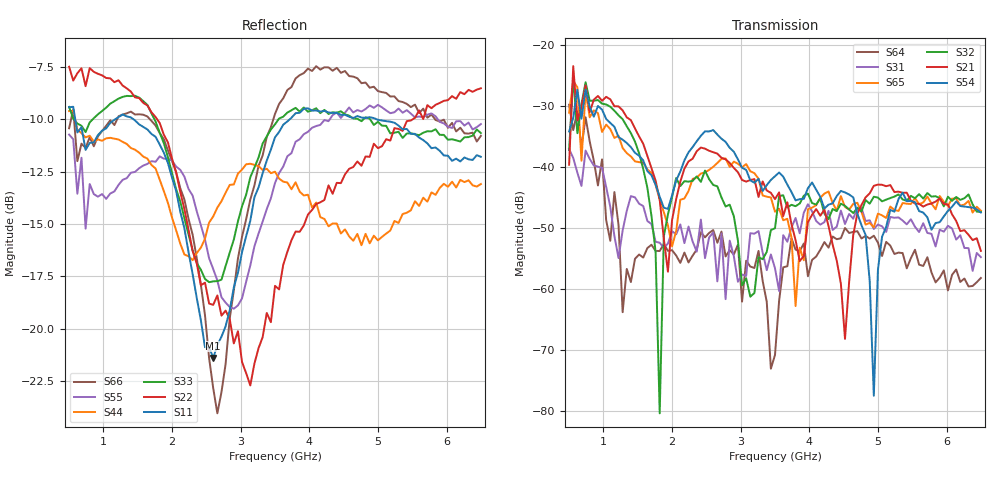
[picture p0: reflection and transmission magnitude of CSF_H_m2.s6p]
!Keysight Technologies,M9804A,MY58100912,A.14.10.03
!Date: Thursday, April 27, 2023 10:28:33
!Correction: S11(C  6-Port  )
!S12(C  6-Port  )
!S13(C  6-Port  )
!S14(C  6-Port  )
!S15(C  6-Port  )
!S16(C  6-Port  )
!S21(C  6-Port  )
!S22(C  6-Port  )
!S23(C  6-Port  )
!S24(C  6-Port  )
!S25(C  6-Port  )
!S26(C  6-Port  )
!S31(C  6-Port  )
!S32(C  6-Port  )
!S33(C  6-Port  )
!S34(C  6-Port  )
!S35(C  6-Port  )
!S36(C  6-Port  )
!S41(C  6-Port  )
!S42(C  6-Port  )
!S43(C  6-Port  )
!S44(C  6-Port  )
!S45(C  6-Port  )
!S46(C  6-Port  )
!S51(C  6-Port  )
!S52(C  6-Port  )
!S53(C  6-Port  )
!S54(C  6-Port  )
!S55(C  6-Port  )
!S56(C  6-Port  )
!S61(C  6-Port  )
!S62(C  6-Port  )
!S63(C  6-Port  )
!S64(C  6-Port  )
!S65(C  6-Port  )
!S66(C  6-Port  )
!S6P File: Measurement: :
# Hz S  RI  R 50
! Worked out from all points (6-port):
!   101 points, 500 MHz to 6.5 GHz, reference 50 ohm
!   strongest paths, dB at 500 MHz, 2 GHz, 3.5 GHz, 5 GHz, 6.5 GHz:
!     S54: -34.2, -44.6, -41.5, -56.8, -47.4
!     S21: -39.6, -48.7, -45.3, -42.9, -53.7
!     S32: -37.2, -44.9, -50.0, -45.0, -47.3
!     S65: -31.1, -53.0, -47.3, -47.6, -47.2
!     S31: -37.1, -50.5, -56.6, -49.4, -54.8
!     S64: -29.8, -53.6, -70.8, -52.4, -58.2
!   lowest |S11| = -21.4 dB at 2.6 GHz (marker M1), VSWR 1.19, Z = 42.4 + j2.21 ohm
!   |S11| at or under -10 dB: 589.3 MHz to 1.17 GHz (580.7 MHz wide, 66 % of centre); 1.438 GHz to 3.714 GHz (2.276 GHz wide, 88.3 % of centre); 4.983 GHz to end of sweep
